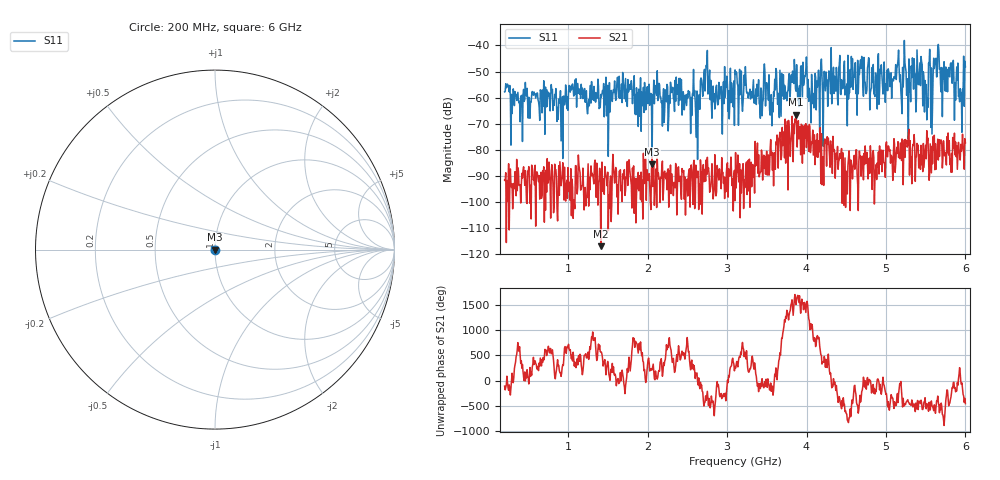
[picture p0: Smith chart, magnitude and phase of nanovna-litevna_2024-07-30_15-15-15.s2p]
! NanoVNA-App by OneOfEleven et al v1.1.209 (+OD15)
! Date: 2024-07-30 15:15:21
! Start: 200MHz Stop: 6GHz Points: 801
! S-Parameter data: F S11 S21 S12 S22
# Hz S RI R 50
!  Frequency  S11_Real  S11_Imag  S21_Real  S21_Imag  S12_Real  S12_Imag  S22_Real  S22_Imag
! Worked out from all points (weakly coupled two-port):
!   801 points, 200 MHz to 6 GHz, reference 50 ohm
!   highest |S21| = -66.48 dB at 3.869 GHz (marker M1); lowest = -116.9 dB at 1.411 GHz (marker M2)
!   lowest |S11| = -85.5 dB at 2.056 GHz (marker M3), VSWR 1.00, Z = 50 + j0.00492 ohm
!   |S11| at or under -10 dB: start of sweep to end of sweep
!   S12 and S22 are empty: the file has one direction only
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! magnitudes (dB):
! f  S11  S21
! 200 MHz  -57.8  -91.6
! 903.2 MHz  -57.3  -88.8
! 1.171 GHz  -58.6  -93.8
! 1.411 GHz  -58.8  -116.9
! 2.056 GHz  -85.5  -82.9
! 2.136 GHz  -59.0  -88.9
! 2.629 GHz  -83.7  -88.2
! 2.723 GHz  -57.5  -87.5
! 2.832 GHz  -61.6  -96.8
! 3.1 GHz  -49.4  -99.5
! 3.491 GHz  -56.8  -84.4
! 3.564 GHz  -70.8  -80.9
! 3.869 GHz  -57.5  -66.5
! 4.072 GHz  -57.6  -77.4
! 4.673 GHz  -47.3  -82.9
! 5.036 GHz  -50.1  -78.7
! 5.282 GHz  -76.1  -73.9
! 5.42 GHz  -51.1  -81.8
! 5.5 GHz  -56.2  -78.2
! 5.645 GHz  -51.9  -80.7
! 5.942 GHz  -59.1  -77.9
! 6 GHz  -48.1  -77.3
